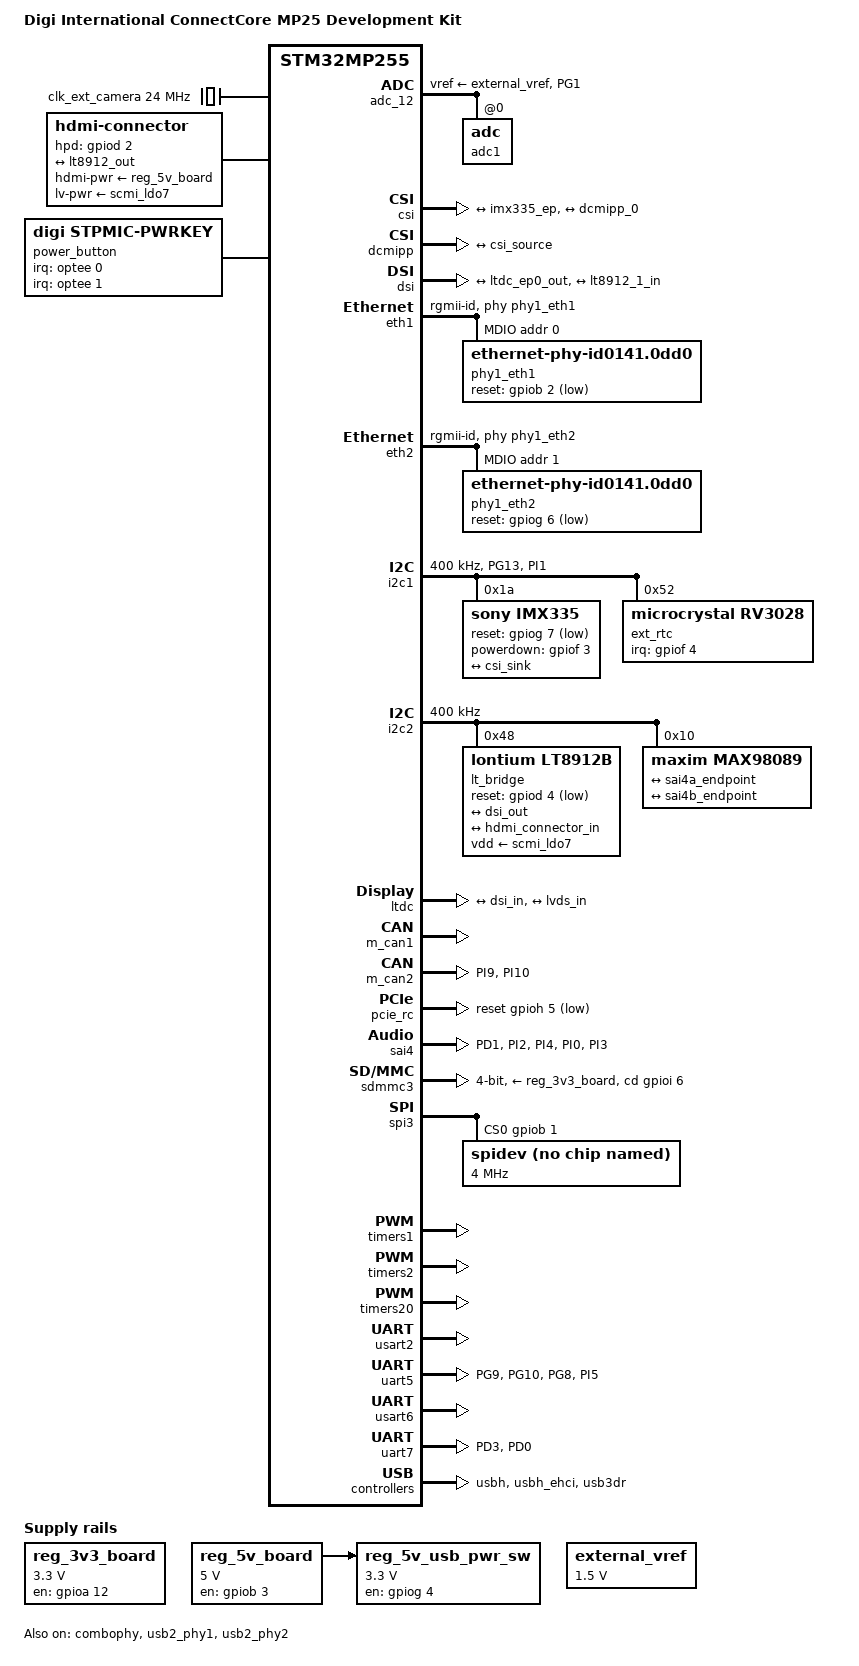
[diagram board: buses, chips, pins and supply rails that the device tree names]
// SPDX-License-Identifier: (GPL-2.0-or-later OR BSD-3-Clause)
/*
 * Copyright (C) 2024,2025, Digi International Inc.
 *
 * Permission to use, copy, modify, and/or distribute this software for any
 * purpose with or without fee is hereby granted, provided that the above
 * copyright notice and this permission notice appear in all copies.
 * THE SOFTWARE IS PROVIDED "AS IS" AND THE AUTHOR DISCLAIMS ALL WARRANTIES
 * WITH REGARD TO THIS SOFTWARE INCLUDING ALL IMPLIED WARRANTIES OF
 * MERCHANTABILITY AND FITNESS. IN NO EVENT SHALL THE AUTHOR BE LIABLE FOR
 * ANY SPECIAL, DIRECT, INDIRECT, OR CONSEQUENTIAL DAMAGES OR ANY DAMAGES
 * WHATSOEVER RESULTING FROM LOSS OF USE, DATA OR PROFITS, WHETHER IN AN
 * ACTION OF CONTRACT, NEGLIGENCE OR OTHER TORTIOUS ACTION, ARISING OUT OF
 * OR IN CONNECTION WITH THE USE OR PERFORMANCE OF THIS SOFTWARE.
 */

/dts-v1/;

/* Digi ConnectCore MP25 (SOM) */
#include "ccmp25.dtsi"

#include <dt-bindings/gpio/gpio.h>
#include <dt-bindings/input/input.h>
#include <dt-bindings/leds/common.h>
#include <dt-bindings/regulator/st,stm32mp25-regulator.h>
#include "dt-bindings/pwm/pwm.h"

/ {
	model = "Digi International ConnectCore MP25 Development Kit";
	compatible = "digi,ccmp25-dvk", "digi,ccmp25", "digi,ccmp2", "st,stm32mp255";
	digi,machine,name = "ccmp255-dvk";

	aliases {
		ethernet0 = &eth1;
		ethernet1 = &eth2;
		serial2 = &uart5; /* Console M33 / XBEE */
		serial3 = &usart6; /* Connector J11 */
		serial4 = &uart7; /* MikroBus UART */
		serial5 = &lpuart1; /* Cortex-M0+ UART */
	};

	chosen {
		stdout-path = "serial0:115200n8";
		#address-cells = <2>;
		#size-cells = <2>;
		ranges;

		framebuffer {
			compatible = "simple-framebuffer";
			clocks = <&rcc CK_BUS_LTDC>, <&rcc CK_KER_LTDC>,
				 <&rcc CK_BUS_LVDS>, <&rcc CK_KER_LVDSPHY>;
			status = "disabled";
		};
	};

	clocks {
		cec_clock: cec-clock {
			compatible = "fixed-clock";
			#clock-cells = <0>;
			clock-frequency = <12000000>;
		};

		clk_ext_camera: clk-ext-camera {
			#clock-cells = <0>;
			compatible = "fixed-clock";
			clock-frequency = <24000000>;
		};

		pad_clk: pad-clk {
			#clock-cells = <0>;
			compatible = "fixed-clock";
			clock-frequency = <100000000>;
		};
	};

	hdmi-connector {
		compatible = "hdmi-connector";
		label = "hdmi";
		type = "a";
		hdmi-pwr-supply = <&reg_5v_board>;
		lv-pwr-supply = <&scmi_ldo7>; /* 1V8_HDMI */
		hpd-gpios = <&gpiod 2 GPIO_ACTIVE_HIGH>;
		status = "okay";

		port {
			hdmi_connector_in: endpoint {
				remote-endpoint = <&lt8912_out>;
			};
		};
	};

	panel_dsi_gpio_backlight: panel-dsi-gpio-backlight {
		compatible = "gpio-backlight";
		gpios = <&gpiod 9 GPIO_ACTIVE_HIGH>; /* MIPI_BCKL_PWM */
		default-brightness-level = <0>;
		status = "disabled";
	};

	panel_dsi_pwm_backlight: panel-dsi-pwm-backlight {
		compatible = "pwm-backlight";
		/* node TIM1_CH3 period (ns) */
		pwms = <&pwm_mipi_bckl 3 500000 PWM_POLARITY_INVERTED>;
		brightness-levels = <0 16 22 30 40 55 75 102 138 188 255>;
		default-brightness-level = <8>;
		power-supply = <&reg_5v_board>;
		status = "disabled";
	};

	panel_lvds: panel-lvds {
		compatible = "auo,g101evn010", "panel-lvds";
		power-supply = <&reg_5v_board>;
		/*backlight = <&panel_lvds_gpio_backlight>;*/
		backlight = <&panel_lvds_pwm_backlight>;
		status = "disabled";

		width-mm = <216>;
		height-mm = <135>;
		data-mapping = "jeida-24";

		panel-timing {
			clock-frequency = <54000000>;
			hactive = <1280>;
			vactive = <800>;
			hfront-porch = <82>;
			hback-porch = <84>;
			hsync-len = <2>;
			vfront-porch = <8>;
			vback-porch = <6>;
			vsync-len = <2>;
		};

		port {
			lvds_panel_in: endpoint {
				remote-endpoint = <&lvds_out0>;
			};
		};
	};

	panel_lvds_gpio_backlight: panel-lvds-gpio-backlight {
		compatible = "gpio-backlight";
		gpios = <&gpiob 0 GPIO_ACTIVE_HIGH>; /* LVDS_BCKL_PWM */
		default-brightness-level = <1>;
		status = "disabled";
	};

	panel_lvds_pwm_backlight: panel-lvds-pwm-backlight {
		compatible = "pwm-backlight";
		/* node TIM20_CH4 period (ns) */
		pwms = <&pwm_lvds_bckl 3 500000 PWM_POLARITY_INVERTED>;
		brightness-levels = <0 16 22 30 40 55 75 102 138 188 255>;
		default-brightness-level = <8>;
		power-supply = <&reg_5v_board>;
		status = "disabled";
	};

	power_button {
		compatible = "digi,stpmic-pwrkey";
		interrupts-extended = <&optee 0>, <&optee 1>;
		interrupt-names = "stpmic_pwrkey_fall", "stpmic_pwrkey_rise";
		status = "okay";
	};

	regulators {
		compatible = "simple-bus";
		#address-cells = <1>;
		#size-cells = <0>;

		reg_3v3_board: regulator-board@1 {
			compatible = "regulator-fixed";
			reg = <1>;
			regulator-name = "3v3_board";
			regulator-min-microvolt = <3300000>;
			regulator-max-microvolt = <3300000>;
			gpio = <&gpioa 12 GPIO_ACTIVE_HIGH>; /* 3V3_BOARD_EN */
			enable-active-high;
			status = "okay";
		};

		reg_5v_board: regulator-board@2 {
			compatible = "regulator-fixed";
			reg = <2>;
			regulator-name = "5v_board";
			regulator-min-microvolt = <5000000>;
			regulator-max-microvolt = <5000000>;
			regulator-enable-ramp-delay = <8000>;
			gpio = <&gpiob 3 GPIO_ACTIVE_HIGH>; /* 5V_BOARD_EN */
			enable-active-high;
			status = "okay";
		};

		reg_5v_usb_pwr_sw: regulator-board@3 {
			compatible = "regulator-fixed";
			reg = <3>;
			regulator-name = "5v_usb_pwr_sw";
			regulator-min-microvolt = <3300000>;
			regulator-max-microvolt = <3300000>;
			gpio = <&gpiog 4 GPIO_ACTIVE_HIGH>; /* NX5P3290_EN */
			enable-active-high;
			vin-supply = <&reg_5v_board>;
			status = "okay";
		};

		external_vref: regulator-board@4 {
			reg = <4>;
			compatible = "regulator-fixed";
			regulator-name = "external-vref";
			regulator-min-microvolt = <1500000>;
			regulator-max-microvolt = <1500000>;
			status = "okay";
		};
	};

	/* AUDIO */
	sound_max98089: sound-max98089 {
		compatible = "audio-graph-card";
		label = "ccmp25-dvk";
		dais = <&sai4b_port &sai4a_port>;
		status = "okay";
	};
};

&adc_12 {
	/* External Vref (requires connecting external voltage to VREF+ pad) */
	vref-supply = <&external_vref>;
	/* Internal Vref (this outputs VREFBUF voltage at VREF+ pad) */
	//vref-supply = <&scmi_vrefbuf>;
	vdda-supply = <&scmi_vdda18adc>;
	pinctrl-names = "default";
	pinctrl-0 = <&ccmp25_adc_pins>;
	status = "okay";

	adc1: adc@0 {
		status = "okay";

		channel@0 {
			reg = <0>;
			/* 16.5 ck_cycles sampling time */
			st,min-sample-time-ns = <400>;
		};

		channel@1 {
			reg = <1>;
			/* 16.5 ck_cycles sampling time */
			st,min-sample-time-ns = <400>;
		};

		channel@6 {
			reg = <6>;
			/* 16.5 ck_cycles sampling time */
			st,min-sample-time-ns = <400>;
		};
	};
};

&combophy {
	clocks = <&rcc CK_BUS_USB3PCIEPHY>, <&rcc CK_KER_USB3PCIEPHY>, <&pad_clk>;
	clock-names = "apb-clk", "ker-clk", "pad-clk";
	st,rx_equalizer = <1>;
	status = "okay";
};

&csi {
	vdd-supply =  <&scmi_vddcore>;
	vdda18-supply = <&scmi_v1v8>;
	status = "okay";
	ports {
		#address-cells = <1>;
		#size-cells = <0>;
		port@0 {
			reg = <0>;
			csi_sink: endpoint {
				remote-endpoint = <&imx335_ep>;
				data-lanes = <1 2>;
				bus-type = <4>;
			};
		};
		port@1 {
			reg = <1>;
			csi_source: endpoint {
				remote-endpoint = <&dcmipp_0>;
			};
		};
	};
};

&dcmipp {
	status = "okay";
	port {
		dcmipp_0: endpoint {
			remote-endpoint = <&csi_source>;
			bus-type = <4>;
		};
	};
};

&dsi {
	vdd-supply =  <&scmi_vddcore>;
	vdda18-supply = <&scmi_v1v8>;
	status = "okay";

	ports {
		#address-cells = <1>;
		#size-cells = <0>;

		port@0 {
			reg = <0>;
			dsi_in: endpoint {
				remote-endpoint = <&ltdc_ep0_out>;
			};
		};

		port@1 {
			reg = <1>;
			dsi_out: endpoint {
				remote-endpoint = <&lt8912_1_in>;
			};
		};
	};
};

&eth1 {
	status = "okay";
	pinctrl-0 = <&eth1_rgmii_pins_a &eth1_mdio_pins_a>;
	pinctrl-1 = <&eth1_rgmii_sleep_pins_a &eth1_mdio_sleep_pins_a>;
	pinctrl-names = "default", "sleep";
	phy-mode = "rgmii-id";
	max-speed = <1000>;
	phy-handle = <&phy1_eth1>;
	snps,ext-systime;

	/* ETH1 connected to the mdio bus ETH1_MDIO */
	mdio1 {
		#address-cells = <1>;
		#size-cells = <0>;
		compatible = "snps,dwmac-mdio";

		phy1_eth1: ethernet-phy@0 {
			compatible = "ethernet-phy-id0141.0dd0"; /* PHY ID for Marvell 88E1512 */
			reset-gpios =  <&gpiob 2 GPIO_ACTIVE_LOW>; /* ETH1_RST */
			reset-assert-us = <1000>;
			reset-deassert-us = <2000>;
			reg = <0>;
		};
	};
};

&eth2 {
	status = "okay";
	pinctrl-0 = <&eth2_rgmii_pins_a>;
	pinctrl-1 = <&eth2_rgmii_sleep_pins_a>;
	pinctrl-names = "default", "sleep";
	phy-mode = "rgmii-id";
	max-speed = <1000>;
	phy-handle = <&phy1_eth2>;
	st,eth-ptp-from-rcc;

	/* ETH2 connected to mdio bus ETH2_MDIO */
	mdio1 {
		#address-cells = <1>;
		#size-cells = <0>;
		compatible = "snps,dwmac-mdio";
		phy1_eth2: ethernet-phy@1 {
			compatible = "ethernet-phy-id0141.0dd0"; /* PHY ID for Marvell 88E1512 */
			reset-gpios =  <&gpiog 6 GPIO_ACTIVE_LOW>; /* ETH2_RST */
			reset-assert-us = <1000>;
			reset-deassert-us = <2000>;
			reg = <1>;
		};
	};
};

/* Peripheral I2C bus (J18 Connector) */
&i2c1 {
	pinctrl-names = "default", "sleep";
	pinctrl-0 = <&ccmp25_i2c1_pins>;
	pinctrl-1 = <&ccmp25_i2c1_sleep_pins>;
	i2c-scl-rising-time-ns = <100>;
	i2c-scl-falling-time-ns = <13>;
	clock-frequency = <400000>;
	status = "okay";
	/* spare dmas for other usage */
	/delete-property/dmas;
	/delete-property/dma-names;

	/*
	 * An inconsistent reset sequence makes
	 * the Goodix display's touch controller respond to one of two I2C
	 * addresses: 0x14 and 0x5D. To make sure the touchscreen
	 * works every time, the touch controller's description must
	 * be duplicated for both addresses.
	 */
	goodix_touch: goodix_touch@14 {
		compatible = "goodix,gt9271";
		reg = <0x14>;
		interrupt-parent = <&gpiod>;
		interrupts = <5 IRQ_TYPE_EDGE_RISING>;
		irq-gpios = <&gpiod 5 GPIO_ACTIVE_HIGH>; /* LVDS_IRQ */
		VDDIO-supply = <&reg_3v3_board>;
		status = "disabled";
	};

	goodix_touch2: goodix_touch2@5d {
		compatible = "goodix,gt9271";
		reg = <0x5d>;
		interrupt-parent = <&gpiod>;
		interrupts = <5 IRQ_TYPE_EDGE_RISING>;
		irq-gpios = <&gpiod 5 GPIO_ACTIVE_HIGH>; /* LVDS_IRQ */
		VDDIO-supply = <&reg_3v3_board>;
		status = "disabled";
	};

	/* MIPI-CSI camera */
	imx335: imx335@1a {
		compatible = "sony,imx335";
		reg = <0x1a>;
		clocks = <&clk_ext_camera>;
		reset-gpios = <&gpiog 7 (GPIO_ACTIVE_LOW | GPIO_PUSH_PULL)>;
		powerdown-gpios = <&gpiof 3 (GPIO_ACTIVE_HIGH | GPIO_PUSH_PULL)>;
		status = "okay";

		port {
			imx335_ep: endpoint {
				remote-endpoint = <&csi_sink>;
				clock-lanes = <0>;
				data-lanes = <1 2>;
				link-frequencies = /bits/ 64 <594000000>;
			};
		};
	};

	ext_rtc: ext_rtc@52 {
		compatible = "microcrystal,rv3028";
		reg = <0x52>;
		interrupt-parent = <&gpiof>;
		interrupts = <4 IRQ_TYPE_EDGE_FALLING>; /* RTC_INT_N */
	};
};

/* Peripheral I2C2 bus (J28 Connector) */
&i2c2 {
	pinctrl-names = "default", "sleep";
	pinctrl-0 = <&i2c2_pins_a>;
	pinctrl-1 = <&i2c2_sleep_pins_a>;
	i2c-scl-rising-time-ns = <100>;
	i2c-scl-falling-time-ns = <13>;
	clock-frequency = <400000>;
	status = "okay";
	/* spare dmas for other usage */
	/delete-property/dmas;
	/delete-property/dma-names;

	lt_bridge: lt8912@48 {
		compatible = "lontium,lt8912b";
		reg = <0x48>;
		reset-gpios = <&gpiod 4 GPIO_ACTIVE_LOW>;
		vdd-supply = <&scmi_ldo7>; /* 1V8_HDMI */
		status = "okay";

		ports {
			#address-cells = <1>;
			#size-cells = <0>;

			port@0 {
				reg = <0>;
				lt8912_1_in: endpoint {
					data-lanes = <1 2 3 4>;
					remote-endpoint = <&dsi_out>;
				};
			};

			port@1 {
				reg = <1>;
				lt8912_out: endpoint {
					remote-endpoint = <&hdmi_connector_in>;
				};
			};
		};

		display-timings {
			native-mode = <&timing0>;

			/* High Definition */
			timing0: timing0 {
				clock-frequency = <74250000>;
				hactive = <1280>;
				vactive = <720>;
				hfront-porch = <110>;
				hsync-len = <40>;
				hback-porch = <220>;
				vfront-porch = <5>;
				vsync-len = <5>;
				vback-porch = <20>;
				hsync-active = <0>;
				vsync-active = <0>;
				de-active = <0>;
				pixelclk-active = <0>;
			};

			/* Full HD */
			timing1: timing1 {
				clock-frequency = <148500000>;
				hactive = <1920>;
				vactive = <1080>;
				hfront-porch = <88>;
				hsync-len = <44>;
				hback-porch = <148>;
				vfront-porch = <4>;
				vsync-len = <5>;
				vback-porch = <36>;
				hsync-active = <0>;
				vsync-active = <0>;
				de-active = <0>;
				pixelclk-active = <0>;
			};
		};
	};

	max98089: codec@10 {
		compatible = "maxim,max98089";
		reg = <0x10>;
		clocks = <&sai4b>;
		clock-names = "mclk";
		#sound-dai-cells = <0>;
		#address-cells = <1>;
		#size-cells = <0>;
		status = "okay";

		max98089_port: port@0{
			reg = <0>;

			max98089_in_endpoint: endpoint@0 {
				remote-endpoint = <&sai4a_endpoint>;
				frame-master = <&max98089_in_endpoint>;
				bitclock-master = <&max98089_in_endpoint>;
			};

			max98089_out_endpoint: endpoint@1 {
				remote-endpoint = <&sai4b_endpoint>;
				frame-master = <&max98089_out_endpoint>;
				bitclock-master = <&max98089_out_endpoint>;
			};
		};
	};
};

&i2c8 {
	pinctrl-names = "default", "sleep";
	pinctrl-0 = <&i2c8_pins_a>;
	pinctrl-1 = <&i2c8_sleep_pins_a>;
	i2c-scl-rising-time-ns = <57>;
	i2c-scl-falling-time-ns = <7>;
	clock-frequency = <400000>;
	status = "disabled";
	/* spare dmas for other usage */
	/delete-property/dmas;
	/delete-property/dma-names;
};

&lpuart1 {
	pinctrl-names = "default", "idle", "sleep";
	pinctrl-0 = <&ccmp25_lpuart1_pins>;
	pinctrl-1 = <&ccmp25_lpuart1_idle_pins>;
	pinctrl-2 = <&ccmp25_lpuart1_sleep_pins>;
	/delete-property/dmas;
	/delete-property/dma-names;
	wakeup-source;
	status = "disabled";
};

&ltdc {
	rotation-memory = <&ltdc_sec_rotation>;
	status = "okay";

	port {
		#address-cells = <1>;
		#size-cells = <0>;

		ltdc_ep0_out: endpoint@0 {
			reg = <0>;
			remote-endpoint = <&dsi_in>;
		};

		ltdc_ep1_out: endpoint@1 {
			reg = <1>;
			remote-endpoint = <&lvds_in>;
		};
	};
};

&lvds {
	vdd-supply =  <&scmi_vddcore>;
	vdda18-supply = <&scmi_v1v8>;
	status = "disabled";

	ports {
		#address-cells = <1>;
		#size-cells = <0>;

		port@0 {
			reg = <0>;
			lvds_in: endpoint {
				remote-endpoint = <&ltdc_ep1_out>;
			};
		};

		port@1 {
			reg = <1>;
			lvds_out0: endpoint {
				remote-endpoint = <&lvds_panel_in>;
			};
		};
	};
};

/* FDCAN1 */
&m_can1 {
	pinctrl-names = "default", "sleep";
	pinctrl-0 = <&m_can1_pins_a>;
	pinctrl-1 = <&m_can1_sleep_pins_a>;
	status = "okay";
};

/* FDCAN2 */
&m_can2 {
	pinctrl-names = "default", "sleep";
	pinctrl-0 = <&ccmp25_m_can2_pins>;
	pinctrl-1 = <&ccmp25_m_can2_sleep_pins>;
	status = "okay";
};

&ommanager {
	memory-region = <&mm_ospi1>;
	memory-region-names = "mm_ospi1";
	pinctrl-names = "default", "sleep";
	pinctrl-0 = <&ospi_port1_clk_pins_a
		     &ospi_port1_io03_pins_a
		     &ospi_port1_cs0_pins_a>;
	pinctrl-1 = <&ospi_port1_clk_sleep_pins_a
		     &ospi_port1_io03_sleep_pins_a
		     &ospi_port1_cs0_sleep_pins_a>;
	status = "disabled";

	ospi1: spi@40430000 {
		#address-cells = <1>;
		#size-cells = <0>;
		memory-region = <&mm_ospi1>;
		status = "disabled";
	};
};

/* PCIe conflicts with USB 3.0 */
&pcie_ep {
	reset-gpios = <&gpioh 5 GPIO_ACTIVE_LOW>;
	/*wake-gpios = <&gpioa 1 (GPIO_ACTIVE_LOW | GPIO_PULL_UP)>;*/
	/* Not supported by driver */
	/*disable-gpio = <&gpioh 4 GPIO_ACTIVE_LOW>;*/
	status = "disabled";
};

&pcie_rc {
	reset-gpios = <&gpioh 5 GPIO_ACTIVE_LOW>;
	wakeup-source;
	wake-gpios = <&gpioa 1 (GPIO_ACTIVE_LOW | GPIO_PULL_UP)>;
	vdd3v3-supply = <&reg_3v3_board>;
	vdd1v5-supply = <&scmi_ldo6>;
	/* Not supported by driver */
	/*disable-gpio = <&gpioh 4 GPIO_ACTIVE_LOW>;*/
	status = "okay";
};

&sai4 {
	pinctrl-names = "default", "sleep";
	pinctrl-0 = <&ccmp25_sai4a_pins>, <&ccmp25_sai4b_pins>;
	pinctrl-1 = <&ccmp25_sai4a_sleep_pins>, <&ccmp25_sai4b_sleep_pins>;
	status = "okay";

	sai4a: audio-controller@40340004 {
		/* Sub-block A is a slave of sub-block B */
		st,sync = <&sai4b 1>;
		/* Sub-block A is only capture (rx) */
		dmas = <&hpdma 79 0x43 0x12 0>;
		dma-names = "rx";
		clocks = <&rcc CK_KER_SAI4>, <&sai4b>;
		clock-names = "sai_ck", "mclk";
		status = "okay";

		sai4a_port: port {
			sai4a_endpoint: endpoint {
				remote-endpoint = <&max98089_in_endpoint>;
				format = "i2s";
				mclk-fs = <256>;
				dai-tdm-slot-num = <2>;
				dai-tdm-slot-width = <32>;
			};
		};
	};
	sai4b: audio-controller@40340024 {
		/* Sub-block B is master */
		#clock-cells = <0>;
		/* Sub-block B is only playback (tx) */
		dmas = <&hpdma 80 0x63 0x21 0>;
		dma-names = "tx";
		status = "okay";

		sai4b_port: port {
			sai4b_endpoint: endpoint {
				remote-endpoint = <&max98089_out_endpoint>;
				format = "i2s";
				mclk-fs = <256>;
				dai-tdm-slot-num = <2>;
				dai-tdm-slot-width = <32>;
			};
		};
	};
};

/* Micro SD */
&sdmmc3 {
	pinctrl-names = "default", "opendrain", "sleep";
	pinctrl-0 = <&sdmmc3_b4_pins_a>;
	pinctrl-1 = <&sdmmc3_b4_od_pins_a>;
	pinctrl-2 = <&sdmmc3_b4_sleep_pins_a>;
	cd-gpios = <&gpioi 6 GPIO_ACTIVE_HIGH>;
	disable-wp;
	st,neg-edge;
	no-1-8-v;
	bus-width = <4>;
	vmmc-supply = <&reg_3v3_board>; /* card's VDD pin */
	vqmmc-supply = <&scmi_vddio3>;
	status = "okay";
};

/* MikroBus SPI */
&spi3 {
	pinctrl-names = "default", "sleep";
	pinctrl-0 = <&spi3_pins_a>;
	pinctrl-1 = <&spi3_sleep_pins_a>;
	cs-gpios = <&gpiob 1 0>; /* SPI3_SS */
	status = "okay";

	spidev@0 {
		compatible = "rohm,dh2228fv";
		/*
		 * spidev uses a compatible string 'rohm,fs2228fv' to have the
		 * driver create an spi device node. This is just an example,
		 * there is not a real device connected on the SPI bus.
		 */
		reg = <0>;
		spi-max-frequency = <4000000>;
	};
};

&timers1 {
	/delete-property/dmas;
	/delete-property/dma-names;
	status = "okay";
	pwm_mipi_bckl: pwm {
		pinctrl-0 = <&ccmp25_pwm1_pins>;
		pinctrl-1 = <&ccmp25_pwm1_sleep_pins>;
		pinctrl-names = "default", "sleep";
		status = "okay";
	};
	timer@0 {
		status = "okay";
	};
};

&timers2 {
	/delete-property/dmas;
	/delete-property/dma-names;
	status = "okay";
	pwm_mikrobus: pwm {
		pinctrl-0 = <&ccmp25_pwm2_pins>;
		pinctrl-1 = <&ccmp25_pwm2_sleep_pins>;
		pinctrl-names = "default", "sleep";
		status = "okay";
	};
	timer@1 {
		status = "okay";
	};
};

&timers20 {
	/delete-property/dmas;
	/delete-property/dma-names;
	status = "okay";
	pwm_lvds_bckl: pwm {
		pinctrl-0 = <&ccmp25_pwm20_pins>;
		pinctrl-1 = <&ccmp25_pwm20_sleep_pins>;
		pinctrl-names = "default", "sleep";
		status = "okay";
	};
	timer@19 {
		status = "okay";
	};
};

/* Console A35 */
&usart2 {
	pinctrl-names = "default", "idle", "sleep";
	pinctrl-0 = <&usart2_pins_a>;
	pinctrl-1 = <&usart2_idle_pins_a>;
	pinctrl-2 = <&usart2_sleep_pins_a>;
	/delete-property/dmas;
	/delete-property/dma-names;
	status = "okay";
};

/* Console M33 / XBEE */
&uart5 {
	pinctrl-names = "default", "idle", "sleep";
	pinctrl-0 = <&ccmp25_uart5_pins &ccmp25_uart5_rtscts_pins>;
	pinctrl-1 = <&ccmp25_uart5_idle_pins &ccmp25_uart5_rtscts_idle_pins>;
	pinctrl-2 = <&ccmp25_uart5_sleep_pins &ccmp25_uart5_rtscts_sleep_pins>;
	uart-has-rtscts;
	status = "okay";
};

/* Connector J11 */
&usart6 {
	pinctrl-names = "default", "idle", "sleep";
	pinctrl-0 = <&usart6_pins_a>;
	pinctrl-1 = <&usart6_idle_pins_a>;
	pinctrl-2 = <&usart6_sleep_pins_a>;
	linux,rs485-enabled-at-boot-time;
	uart-has-rtscts;
	status = "okay";
};

/* MikroBus UART */
&uart7 {
	pinctrl-names = "default", "idle", "sleep";
	pinctrl-0 = <&ccmp25_uart7_pins>;
	pinctrl-1 = <&ccmp25_uart7_idle_pins>;
	pinctrl-2 = <&ccmp25_uart7_sleep_pins>;
	/delete-property/dmas;
	/delete-property/dma-names;
	status = "okay";
};

/* USB 2.0 Host */
&usb2_phy1 {
	vdd33-supply = <&scmi_vdd3v3_usb>;
	status = "okay";
};


&usbh {
	status = "okay";
};

&usbh_ehci {
	status = "okay";
};

/* USB 2.0/3.0 Host/Device */
&usb2_phy2 {
	vdd33-supply = <&scmi_vdd3v3_usb>;
	status = "okay";
};

&usb3dr {
	status = "okay";

	dwc3: usb@48300000 {
		maximum-speed = "high-speed";
		usb-role-switch;
		role-switch-default-mode = "peripheral";
	};
};

&pinctrl {
	ccmp25_adc_pins: ccmp25-adc-pins-0 {
		pins {
			pinmux = <STM32_PINMUX('G', 1, ANALOG)>;
		};
	};

	ccmp25_i2c1_pins: ccmp25-i2c1-0 {
		pins {
			pinmux = <STM32_PINMUX('G', 13, AF9)>, /* I2C1_SCL */
				 <STM32_PINMUX('I', 1, AF9)>; /* I2C1_SDA */
			bias-disable;
			drive-open-drain;
			slew-rate = <0>;
		};
	};

	ccmp25_i2c1_sleep_pins: ccmp25-i2c1-sleep-0 {
		pins {
			pinmux = <STM32_PINMUX('G', 13, ANALOG)>, /* I2C1_SCL */
				 <STM32_PINMUX('I', 1, ANALOG)>; /* I2C1_SDA */
		};
	};

	ccmp25_lpuart1_pins: ccmp25-lpuart1-0 {
		pins1 {
			pinmux = <STM32_PINMUX('Z', 7, AF6)>; /* LPUART1_TX */
			bias-disable;
			drive-push-pull;
			slew-rate = <0>;
		};
		pins2 {
			pinmux = <STM32_PINMUX('Z', 4, AF6)>; /* LPUART1_RX */
			bias-pull-up;
		};
	};

	ccmp25_lpuart1_idle_pins: ccmp25-lpuart1-idle-0 {
		pins1 {
			pinmux = <STM32_PINMUX('Z', 7, ANALOG)>; /* LPUART1_TX */
		};
		pins2 {
			pinmux = <STM32_PINMUX('Z', 4, AF6)>; /* LPUART1_RX */
			bias-pull-up;
		};
	};

	ccmp25_lpuart1_sleep_pins: ccmp25-lpuart1-sleep-0 {
		pins {
			pinmux = <STM32_PINMUX('Z', 7, ANALOG)>, /* LPUART1_TX */
				 <STM32_PINMUX('Z', 4, ANALOG)>; /* LPUART1_RX */
		};
	};

	ccmp25_m_can2_pins: ccmp25-m-can2-0 {
		pins1 {
			pinmux = <STM32_PINMUX('I', 9, AF4)>; /* FDCAN2_TX */
			slew-rate = <1>;
			drive-push-pull;
			bias-disable;
		};
		pins2 {
			pinmux = <STM32_PINMUX('I', 10, AF4)>; /* FDCAN2_RX */
			bias-disable;
		};
	};

	ccmp25_m_can2_sleep_pins: ccmp25-m-can2-sleep-0 {
		pins {
			pinmux = <STM32_PINMUX('I', 9, ANALOG)>, /* FDCAN2_TX */
				 <STM32_PINMUX('I', 10, ANALOG)>; /* FDCAN2_RX */
		};
	};

	ccmp25_pwm1_pins: ccmp25-pwm1-0 {
		pins {
			pinmux = <STM32_PINMUX('D', 9, AF8)>; /* TIM1_CH3 */
			bias-disable;
			drive-push-pull;
			slew-rate = <0>;
		};
	};

	ccmp25_pwm1_sleep_pins: ccmp25-pwm1-sleep-0 {
		pins {
			pinmux = <STM32_PINMUX('D', 9, ANALOG)>; /* TIM1_CH3 */
		};
	};

	ccmp25_pwm2_pins: ccmp25-pwm2-0 {
		pins {
			pinmux = <STM32_PINMUX('F', 11, AF7)>; /* TIM2_CH4 */
			bias-disable;
			drive-push-pull;
			slew-rate = <0>;
		};
	};

	ccmp25_pwm2_sleep_pins: ccmp25-pwm2-sleep-0 {
		pins {
			pinmux = <STM32_PINMUX('F', 11, ANALOG)>; /* TIM2_CH4 */
		};
	};

	ccmp25_pwm20_pins: ccmp25-pwm20-0 {
		pins {
			pinmux = <STM32_PINMUX('B', 0, AF8)>; /* TIM20_CH4N */
			bias-disable;
			drive-push-pull;
			slew-rate = <0>;
		};
	};

	ccmp25_pwm20_sleep_pins: ccmp25-pwm20-sleep-0 {
		pins {
			pinmux = <STM32_PINMUX('B', 0, ANALOG)>; /* TIM20_CH4N */
		};
	};

	ccmp25_sai4a_pins: ccmp25-sai4a-1 {
		pins {
			pinmux = <STM32_PINMUX('D', 1, AF5)>; /* SAI4_SD_A */
			bias-disable;
		};
	};

	ccmp25_sai4a_sleep_pins: ccmp25-sai4a-sleep-1 {
		pins {
			pinmux = <STM32_PINMUX('D', 1, ANALOG)>; /* SAI4_SD_A */
		};
	};

	ccmp25_sai4b_pins: ccmp25-sai2b-0 {
		pins1 {
			pinmux = <STM32_PINMUX('I', 2, AF4)>, /* SAI4_SCK_B */
				 <STM32_PINMUX('I', 4, AF4)>, /* SAI4_FS_B */
				 <STM32_PINMUX('I', 0, AF4)>; /* SAI4_MCLK_B */
			slew-rate = <0>;
			drive-push-pull;
			bias-disable;
		};
		pins2 {
			pinmux = <STM32_PINMUX('I', 3, AF4)>; /* SAI4_SD_B */
			bias-disable;
		};
	};

	ccmp25_sai4b_sleep_pins: ccmp25-sai2b-sleep-0 {
		pins {
			pinmux = <STM32_PINMUX('I', 3, ANALOG)>, /* SAI4_SDO_B */
				 <STM32_PINMUX('I', 2, ANALOG)>, /* SAI4_SCK_B */
				 <STM32_PINMUX('I', 4, ANALOG)>, /* SAI4_FS_B */
				 <STM32_PINMUX('I', 0, ANALOG)>; /* SAI4_MCLK_B */
		};
	};

	ccmp25_uart5_pins: ccmp25-uart5-0 {
		pins1 {
			pinmux = <STM32_PINMUX('G', 9, AF5)>; /* UART5_TX */
			bias-disable;
			drive-push-pull;
			slew-rate = <0>;
		};
		pins2 {
			pinmux = <STM32_PINMUX('G', 10, AF5)>; /* UART5_RX */
			bias-disable;
		};
	};

	ccmp25_uart5_idle_pins: ccmp25-uart5-idle-0 {
		pins1 {
			pinmux = <STM32_PINMUX('G', 9, ANALOG)>; /* UART5_TX */
		};
		pins2 {
			pinmux = <STM32_PINMUX('G', 10, AF5)>; /* UART5_RX */
			bias-disable;
		};
	};

	ccmp25_uart5_sleep_pins: ccmp25-uart5-sleep-0 {
		pins {
			pinmux = <STM32_PINMUX('G', 9, ANALOG)>, /* UART5_TX */
				 <STM32_PINMUX('G', 10, ANALOG)>; /* UART5_RX */
		};
	};

	ccmp25_uart5_rtscts_pins: ccmp25-uart5-rtscts-0 {
		pins1 {
			pinmux = <STM32_PINMUX('G', 8, AF5)>;  /* UART5_RTS */
			bias-disable;
			drive-push-pull;
			slew-rate = <0>;
		};
		pins2 {
			pinmux = <STM32_PINMUX('I', 5, AF5)>; /* UART5_CTS */
			bias-pull-up;
		};
	};

	ccmp25_uart5_rtscts_idle_pins: ccmp25-uart5-rtscts-idle-0 {
		pins1 {
			pinmux = <STM32_PINMUX('I', 5, ANALOG)>; /* UART5_CTS */
		};
		pins2 {
			pinmux = <STM32_PINMUX('G', 8, AF5)>; /* UART5_RTS */
			bias-disable;
			drive-push-pull;
			slew-rate = <0>;
		};
	};

	ccmp25_uart5_rtscts_sleep_pins: ccmp25-uart5-rtscts-sleep-0 {
		pins {
			pinmux = <STM32_PINMUX('G', 8, ANALOG)>, /* UART5_RTS */
				 <STM32_PINMUX('I', 5, ANALOG)>; /* UART5_CTS */
		};
	};

	ccmp25_uart7_pins: ccmp25-uart7-0 {
		pins1 {
			pinmux = <STM32_PINMUX('D', 3, AF6)>; /* UART7_TX */
			bias-disable;
			drive-push-pull;
			slew-rate = <0>;
		};
		pins2 {
			pinmux = <STM32_PINMUX('D', 0, AF6)>; /* UART7_RX */
			bias-disable;
		};
	};

	ccmp25_uart7_idle_pins: ccmp25-uart7-idle-0 {
		pins1 {
			pinmux = <STM32_PINMUX('D', 3, ANALOG)>; /* UART7_TX */
		};
		pins2 {
			pinmux = <STM32_PINMUX('D', 0, AF6)>; /* UART7_RX */
			bias-disable;
		};
	};

	ccmp25_uart7_sleep_pins: ccmp25-uart7-sleep-0 {
		pins {
			pinmux = <STM32_PINMUX('D', 3, ANALOG)>, /* UART7_TX */
				 <STM32_PINMUX('D', 0, ANALOG)>; /* UART7_RX */
		};
	};
};
